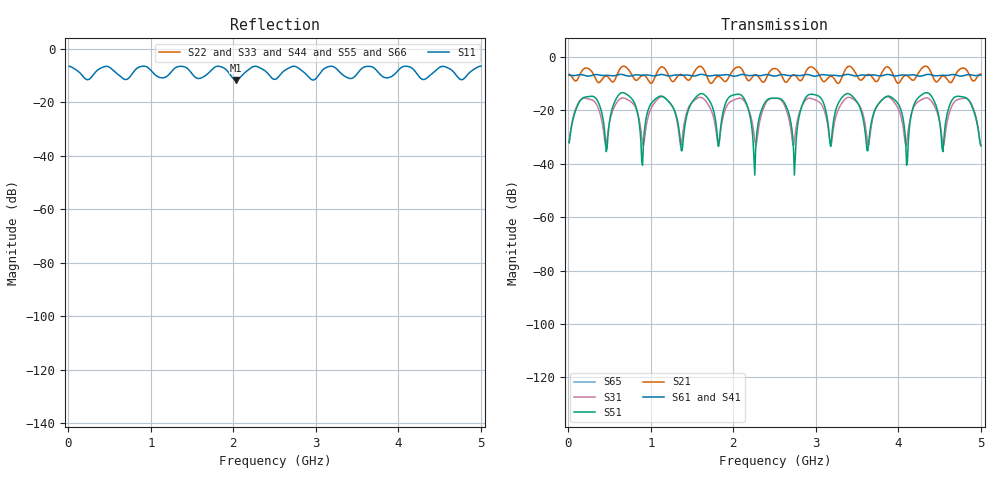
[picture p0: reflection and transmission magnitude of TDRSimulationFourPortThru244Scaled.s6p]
# MHz MA S R 50.0
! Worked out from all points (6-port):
!   500 points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, 10 MHz to 5 GHz, reference 50 ohm
!   strongest paths, dB at 10 MHz, 1.26 GHz, 2.51 GHz, 3.76 GHz, 5 GHz:
!     S61: -6.8, -6.9, -7.1, -7.1, -6.8
!     S41: -6.8, -6.9, -7.1, -7.0, -6.8
!     S21: -6.5, -9.2, -4.4, -8.4, -6.4
!     S51: -32.2, -18.4, -15.5, -17.5, -33.3
!     S31: -31.9, -18.5, -15.5, -17.5, -33.3
!     S65: -, -, -, -, -
!   lowest |S11| = -11.6 dB at 2.03 GHz (marker M1), VSWR 1.72, Z = 79.3 - j18 ohm
!   |S11| at or under -10 dB: 1.068 GHz to 1.203 GHz (135.4 MHz wide, 11.9 % of centre); 1.52 GHz to 1.658 GHz (138.3 MHz wide, 8.71 % of centre); 3.342 GHz to 3.48 GHz (138.3 MHz wide, 4.06 % of centre)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
